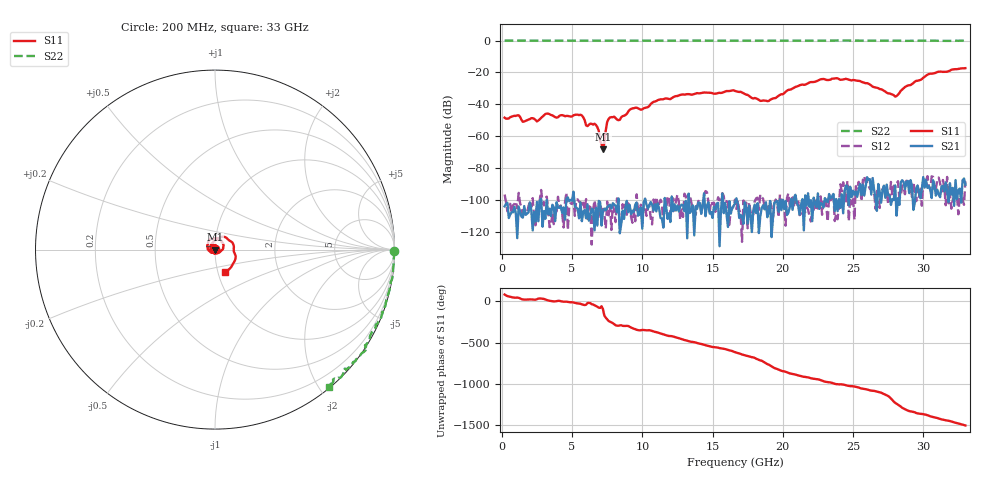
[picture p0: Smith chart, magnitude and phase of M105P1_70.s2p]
# GHZ S RI R 50
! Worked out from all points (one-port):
!   329 points, 200 MHz to 33 GHz, reference 50 ohm
!   lowest |S11| = -68.1 dB at 7.2 GHz (marker M1), VSWR 1.00, Z = 50 - j0.0391 ohm
!   |S11| at or under -10 dB: start of sweep to end of sweep
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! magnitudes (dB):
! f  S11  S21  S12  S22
! 200 MHz  -48.3  -103.9  -96.5  0.0
! 1.2 GHz  -46.8  -104.1  -95.4  0.0
! 1.5 GHz  -50.9  -111.0  -111.6  0.0
! 2.5 GHz  -50.7  -101.1  -102.4  0.0
! 3.2 GHz  -45.8  -99.9  -97.8  0.0
! 5.7 GHz  -47.0  -113.2  -104.4  0.0
! 6 GHz  -53.1  -111.4  -99.3  0.0
! 6.8 GHz  -54.3  -115.9  -104.2  0.0
! 7.2 GHz  -68.1  -107.1  -105.9  0.0
! 7.5 GHz  -51.0  -104.5  -100.9  0.0
! 7.7 GHz  -48.2  -103.0  -102.9  0.0
! 8.4 GHz  -49.7  -120.8  -116.6  0.0
! 9.2 GHz  -42.9  -108.8  -110.3  0.0
! 11.2 GHz  -37.0  -105.3  -102.0  0.0
! 16.6 GHz  -31.6  -101.8  -99.7  0.0
! 19 GHz  -37.9  -107.6  -102.6  -0.1
! 22.1 GHz  -26.0  -113.2  -106.2  0.0
! 24.5 GHz  -23.9  -90.9  -101.4  0.0
! 27.6 GHz  -33.1  -97.1  -100.6  0.0
! 28.1 GHz  -34.7  -109.7  -91.0  -0.1
! 30.4 GHz  -21.0  -91.1  -91.5  0.0
! 33 GHz  -17.3  -90.3  -88.2  0.0
